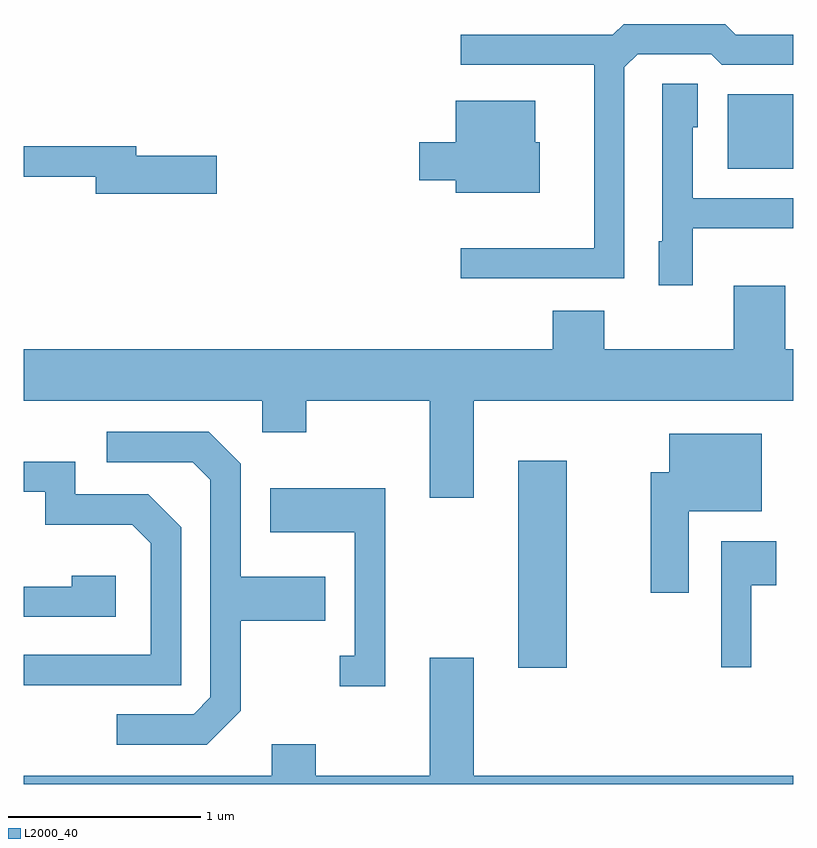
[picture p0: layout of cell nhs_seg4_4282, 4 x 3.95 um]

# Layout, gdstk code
import gdstk
lib = gdstk.Library(unit=1e-6, precision=1e-09)
def R(c, l, rs):  # rectangles x0, y0, x1, y1
    for r in rs: c.add(gdstk.rectangle(r[:2], r[2:], *l))
def P(c, l, *ps):  # polygons
    for p in ps: c.add(gdstk.Polygon(p, *l))
L2000_40 = (2000, 40)

nhs_seg4_4282 = lib.new_cell('nhs_seg4_4282')
R(nhs_seg4_4282, L2000_40, [(312.181,1386.586,312.434,1387.664), (313.271,1389.181,313.611,1389.569)])
P(nhs_seg4_4282, L2000_40, [(312.734,1389.709),(312.802,1389.776),(313.184,1389.776),(313.239,1389.721),(313.611,1389.721),(313.611,1389.879),(313.312,1389.879),(313.257,1389.934),(312.729,1389.934),(312.674,1389.879),(311.883,1389.879),(311.883,1389.721),(312.576,1389.721),(312.576,1388.769),(311.883,1388.769),(311.883,1388.611),(312.734,1388.611)],
  [(313.089,1388.871),(313.611,1388.871),(313.611,1389.029),(313.089,1389.029),(313.089,1389.396),(313.114,1389.396),(313.114,1389.624),(312.931,1389.624),(312.931,1388.804),(312.911,1388.804),(312.911,1388.576),(313.089,1388.576)],
  [(312.294,1389.319),(312.269,1389.319),(312.269,1389.534),(311.856,1389.534),(311.856,1389.319),(311.666,1389.319),(311.666,1389.121),(311.856,1389.121),(311.856,1389.056),(312.294,1389.056)],
  [(310.614,1389.249),(310.194,1389.249),(310.194,1389.299),(309.611,1389.299),(309.611,1389.141),(309.986,1389.141),(309.986,1389.051),(310.614,1389.051)],
  [(311.949,1387.976),(313.611,1387.976),(313.611,1388.244),(313.569,1388.244),(313.569,1388.574),(313.301,1388.574),(313.301,1388.244),(312.629,1388.244),(312.629,1388.444),(312.361,1388.444),(312.361,1388.244),(309.611,1388.244),(309.611,1387.976),(310.851,1387.976),(310.851,1387.811),(311.079,1387.811),(311.079,1387.976),(311.721,1387.976),(311.721,1387.471),(311.949,1387.471)],
  [(310.739,1386.364),(310.739,1386.831),(311.179,1386.831),(311.179,1387.059),(310.739,1387.059),(310.739,1387.647),(310.572,1387.814),(310.043,1387.814),(310.043,1387.656),(310.489,1387.656),(310.581,1387.564),(310.581,1386.432),(310.494,1386.344),(310.093,1386.344),(310.093,1386.186),(310.562,1386.186)],
  [(313.069,1387.401),(313.449,1387.401),(313.449,1387.804),(312.966,1387.804),(312.966,1387.604),(312.871,1387.604),(312.871,1386.976),(313.069,1386.976)],
  [(310.429,1387.317),(310.257,1387.489),(309.879,1387.489),(309.879,1387.659),(309.611,1387.659),(309.611,1387.501),(309.721,1387.501),(309.721,1387.331),(310.174,1387.331),(310.271,1387.234),(310.271,1386.654),(309.611,1386.654),(309.611,1386.496),(310.429,1386.496)],
  [(311.489,1387.519),(310.891,1387.519),(310.891,1387.291),(311.331,1387.291),(311.331,1386.649),(311.253,1386.649),(311.253,1386.491),(311.489,1386.491)],
  [(313.394,1387.016),(313.524,1387.016),(313.524,1387.244),(313.236,1387.244),(313.236,1386.588),(313.394,1386.588)],
  [(310.089,1387.064),(309.861,1387.064),(309.861,1387.009),(309.611,1387.009),(309.611,1386.851),(310.089,1386.851)],
  [(313.611,1386.024),(311.949,1386.024),(311.949,1386.639),(311.721,1386.639),(311.721,1386.024),(311.129,1386.024),(311.129,1386.189),(310.901,1386.189),(310.901,1386.024),(309.611,1386.024),(309.611,1385.982),(313.611,1385.982)])

lib.write_gds('nhs_seg4_4282.gds')
